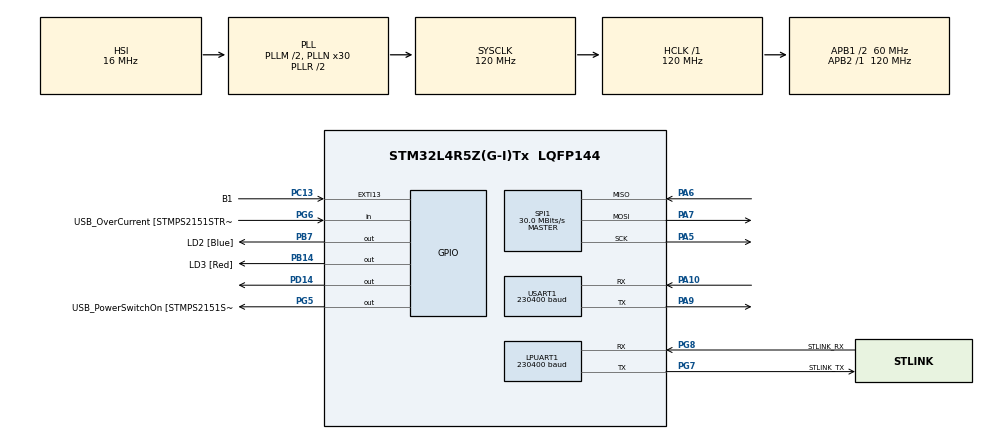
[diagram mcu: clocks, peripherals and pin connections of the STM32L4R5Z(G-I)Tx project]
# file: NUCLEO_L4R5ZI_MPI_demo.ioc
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Dma.LPUART1_RX.0.Direction=DMA_PERIPH_TO_MEMORY
Dma.LPUART1_RX.0.EventEnable=DISABLE
Dma.LPUART1_RX.0.Instance=DMA1_Channel1
Dma.LPUART1_RX.0.MemDataAlignment=DMA_MDATAALIGN_BYTE
Dma.LPUART1_RX.0.MemInc=DMA_MINC_ENABLE
Dma.LPUART1_RX.0.Mode=DMA_NORMAL
Dma.LPUART1_RX.0.PeriphDataAlignment=DMA_PDATAALIGN_BYTE
Dma.LPUART1_RX.0.PeriphInc=DMA_PINC_DISABLE
Dma.LPUART1_RX.0.Polarity=HAL_DMAMUX_REQUEST_GEN_RISING
Dma.LPUART1_RX.0.Priority=DMA_PRIORITY_LOW
Dma.LPUART1_RX.0.RequestNumber=1
Dma.LPUART1_RX.0.SignalID=NONE
Dma.LPUART1_RX.0.SyncEnable=DISABLE
Dma.LPUART1_RX.0.SyncPolarity=HAL_DMAMUX_SYNC_NO_EVENT
Dma.LPUART1_RX.0.SyncRequestNumber=1
Dma.LPUART1_RX.0.SyncSignalID=NONE
Dma.Request0=LPUART1_RX
LPUART1.BaudRate=230400
LPUART1.WordLength=UART_WORDLENGTH_8B
Mcu.Family=STM32L4
Mcu.Name=STM32L4R5Z(G-I)Tx
Mcu.Package=LQFP144
NVIC.DMA1_Channel1_IRQn=true\:0\:0\:false\:false\:true\:false\:true\:true
NVIC.PriorityGroup=NVIC_PRIORITYGROUP_4
PA10.Mode=Asynchronous
PA10.Signal=USART1_RX
PA13\ (JTMS/SWDIO).GPIO_Label=TMS
PA13\ (JTMS/SWDIO).Mode=Trace_Asynchronous_SW
PA13\ (JTMS/SWDIO).Signal=SYS_JTMS-SWDIO
PA14\ (JTCK/SWCLK).GPIO_Label=TCK
PA14\ (JTCK/SWCLK).Mode=Trace_Asynchronous_SW
PA14\ (JTCK/SWCLK).Signal=SYS_JTCK-SWCLK
PA5.Mode=Full_Duplex_Master
PA5.Signal=SPI1_SCK
PA6.Mode=Full_Duplex_Master
PA6.Signal=SPI1_MISO
PA7.Mode=Full_Duplex_Master
PA7.Signal=SPI1_MOSI
PA9.Mode=Asynchronous
PA9.Signal=USART1_TX
PB14.GPIO_Label=LD3 [Red]
PB14.Signal=GPIO_Output
PB3\ (JTDO/TRACESWO).GPIO_Label=SWO
PB3\ (JTDO/TRACESWO).Mode=Trace_Asynchronous_SW
PB3\ (JTDO/TRACESWO).Signal=SYS_JTDO-SWO
PB7.GPIO_Label=LD2 [Blue]
PB7.Signal=GPIO_Output
PC13.GPIO_Label=B1
PC13.Signal=GPXTI13
PC14-OSC32_IN\ (PC14).Mode=LSE-External-Oscillator
PC14-OSC32_IN\ (PC14).Signal=RCC_OSC32_IN
PC15-OSC32_OUT\ (PC15).Mode=LSE-External-Oscillator
PC15-OSC32_OUT\ (PC15).Signal=RCC_OSC32_OUT
PD14.Signal=GPIO_Output
PD8.GPIO_Label=STLK_RX [STM32F103CBT6_PA3]
PD8.Signal=USART3_TX
PD9.GPIO_Label=STLK_TX [STM32F103CBT6_PA2]
PD9.Signal=USART3_RX
PG5.GPIO_Label=USB_PowerSwitchOn [STMPS2151STR_EN]
PG5.Signal=GPIO_Output
PG6.GPIO_Label=USB_OverCurrent [STMPS2151STR_FAULT]
PG6.Signal=GPIO_Input
PG7.GPIO_Label=STLINK_TX
PG7.Mode=Asynchronous
PG7.Signal=LPUART1_TX
PG8.GPIO_Label=STLINK_RX
PG8.Mode=Asynchronous
PG8.Signal=LPUART1_RX
PH0-OSC_IN\ (PH0).Signal=RCC_OSC_IN
PH1-OSC_OUT\ (PH1).Signal=RCC_OSC_OUT
ProjectManager.HeapSize=0x200
ProjectManager.StackSize=0x400
ProjectManager.TargetToolchain=STM32CubeIDE
RCC.48MHZClocksFreq_Value=24000000
RCC.ADCFreq_Value=96000000
RCC.AHBFreq_Value=120000000
RCC.APB1CLKDivider=RCC_HCLK_DIV2
RCC.APB1Freq_Value=60000000
RCC.APB1TimFreq_Value=120000000
RCC.APB2Freq_Value=120000000
RCC.APB2TimFreq_Value=120000000
RCC.CK48CLockSelection=RCC_USBCLKSOURCE_HSI48
RCC.CortexFreq_Value=120000000
RCC.HCLKFreq_Value=120000000
RCC.HSE_VALUE=8000000
RCC.HSI48_VALUE=48000000
RCC.HSI_VALUE=16000000
RCC.MSI_VALUE=4000000
RCC.PLLM1=2
RCC.PLLMUL=RCC_PLL_MUL9
RCC.PLLN=30
RCC.PLLSAI1N=12
RCC.PLLSourceVirtual=RCC_PLLSOURCE_HSI
RCC.PRESCALERUSB=RCC_USBCLKSOURCE_PLL_DIV1_5
RCC.SYSCLKFreq_VALUE=120000000
RCC.SYSCLKSource=RCC_SYSCLKSOURCE_PLLCLK
RCC.SYSCLKSourceVirtual=RCC_SYSCLKSOURCE_PLLCLK
RCC.USBFreq_Value=48000000
RCC.VCOOutputFreq_Value=240000000
SPI1.BaudRatePrescaler=SPI_BAUDRATEPRESCALER_4
SPI1.CalculateBaudRate=30.0 MBits/s
SPI1.DataSize=SPI_DATASIZE_8BIT
SPI1.Direction=SPI_DIRECTION_2LINES
SPI1.Mode=SPI_MODE_MASTER
SPI1.VirtualType=VM_MASTER
USART1.BaudRate=230400
USART1.VirtualMode-Asynchronous=VM_ASYNC
board=NUCLEO-L4R5ZI

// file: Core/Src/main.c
/* USER CODE BEGIN Header */
/**
  ******************************************************************************
  * @file           : main.c
  * @brief          : Main program body
  ******************************************************************************
  * @attention
  *
  * <h2><center>&copy; Copyright (c) 2021 STMicroelectronics.
  * All rights reserved.</center></h2>
  *
  * This software component is licensed by ST under BSD 3-Clause license,
  * the "License"; You may not use this file except in compliance with the
  * License. You may obtain a copy of the License at:
  *                        opensource.org/licenses/BSD-3-Clause
  *
  ******************************************************************************
  */
/* USER CODE END Header */
#include "main.h"

UART_HandleTypeDef hlpuart1;
UART_HandleTypeDef huart1;
DMA_HandleTypeDef hdma_lpuart1_rx;

SPI_HandleTypeDef hspi1;

/* USER CODE BEGIN PV */

//note assuming allocating all storage for MPI
const uint8_t FLASH_READ = 0x03;
const uint8_t FLASH_WRITE = 0x02;
const uint8_t FLASH_WREN = 0x06;
const uint8_t FLASH_WRDI = 0x04;
const uint8_t FLASH_ER4 = 0x20;
const uint8_t FLASH_ER32 = 0x52;
const uint8_t FLASH_ER64 = 0xd8;
const uint8_t FLASH_ERCP = 0xC7;
const uint8_t FLASH_STATREG1 = 0X05;

/* USER CODE END PV */

void SystemClock_Config(void);
static void MX_GPIO_Init(void);
static void MX_DMA_Init(void);
static void MX_LPUART1_UART_Init(void);
static void MX_SPI1_Init(void);
static void MX_USART1_UART_Init(void);
/* USER CODE BEGIN PFP */
//uint8_t sendTelecommand(uint8_t commandCode, uint8_t *parameters);
/* USER CODE END PFP */

/* USER CODE BEGIN 0 */
uint8_t UART1_rxBuffer[160] = {0};
uint8_t MPI_sync_bytes[4] = {0x0c, 0xff, 0xff, 0x0c};
uint8_t MPI_housekeeping[18] = {0};
//uint8_t UART1_txBuffer[160] = {0};
uint8_t flash_buffer[256] = {0};
uint8_t flash_buffer_capacity = 0;
uint32_t page_number = 0;
uint8_t address[3] = {0};
uint8_t spiRX_buf[256] = {0};

/* USER CODE END 0 */

int main(void)
{

  /* MCU Configuration--------------------------------------------------------*/

  /* Reset of all peripherals, Initializes the Flash interface and the Systick. */
  HAL_Init();

  /* Configure the system clock */
  SystemClock_Config();

  /* Initialize all configured peripherals */
  MX_GPIO_Init();
  MX_DMA_Init();
  MX_LPUART1_UART_Init();
  MX_SPI1_Init();
  MX_USART1_UART_Init();
  /* USER CODE BEGIN 2 */

  // Send commands to the MPI
  uint8_t parameters = 0xFF;
  uint8_t command_code = 4;
  sendTelecommand(command_code, parameters);

//  HAL_UART_Receive_DMA(&huart1, UART1_rxBuffer, 160);

  /* USER CODE END 2 */

  /* Infinite loop */
  while (1)
  {

  }
}

void SystemClock_Config(void)
{
  RCC_OscInitTypeDef RCC_OscInitStruct = {0};
  RCC_ClkInitTypeDef RCC_ClkInitStruct = {0};

  /** Configure the main internal regulator output voltage
  */
  if (HAL_PWREx_ControlVoltageScaling(PWR_REGULATOR_VOLTAGE_SCALE1_BOOST) != HAL_OK)
  {
    Error_Handler();
  }

  /** Initializes the RCC Oscillators according to the specified parameters
  * in the RCC_OscInitTypeDef structure.
  */
  RCC_OscInitStruct.OscillatorType = RCC_OSCILLATORTYPE_HSI;
  RCC_OscInitStruct.HSIState = RCC_HSI_ON;
  RCC_OscInitStruct.HSICalibrationValue = RCC_HSICALIBRATION_DEFAULT;
  RCC_OscInitStruct.PLL.PLLState = RCC_PLL_ON;
  RCC_OscInitStruct.PLL.PLLSource = RCC_PLLSOURCE_HSI;
  RCC_OscInitStruct.PLL.PLLM = 2;
  RCC_OscInitStruct.PLL.PLLN = 30;
  RCC_OscInitStruct.PLL.PLLP = RCC_PLLP_DIV2;
  RCC_OscInitStruct.PLL.PLLQ = RCC_PLLQ_DIV2;
  RCC_OscInitStruct.PLL.PLLR = RCC_PLLR_DIV2;
  if (HAL_RCC_OscConfig(&RCC_OscInitStruct) != HAL_OK)
  {
    Error_Handler();
  }

  /** Initializes the CPU, AHB and APB buses clocks
  */
  RCC_ClkInitStruct.ClockType = RCC_CLOCKTYPE_HCLK|RCC_CLOCKTYPE_SYSCLK
                              |RCC_CLOCKTYPE_PCLK1|RCC_CLOCKTYPE_PCLK2;
  RCC_ClkInitStruct.SYSCLKSource = RCC_SYSCLKSOURCE_PLLCLK;
  RCC_ClkInitStruct.AHBCLKDivider = RCC_SYSCLK_DIV1;
  RCC_ClkInitStruct.APB1CLKDivider = RCC_HCLK_DIV2;
  RCC_ClkInitStruct.APB2CLKDivider = RCC_HCLK_DIV1;

  if (HAL_RCC_ClockConfig(&RCC_ClkInitStruct, FLASH_LATENCY_5) != HAL_OK)
  {
    Error_Handler();
  }
}

static void MX_LPUART1_UART_Init(void)
{

  hlpuart1.Instance = LPUART1;
  hlpuart1.Init.BaudRate = 230400;
  hlpuart1.Init.WordLength = UART_WORDLENGTH_8B;
  hlpuart1.Init.StopBits = UART_STOPBITS_1;
  hlpuart1.Init.Parity = UART_PARITY_NONE;
  hlpuart1.Init.Mode = UART_MODE_TX_RX;
  hlpuart1.Init.HwFlowCtl = UART_HWCONTROL_NONE;
  hlpuart1.Init.OneBitSampling = UART_ONE_BIT_SAMPLE_DISABLE;
  hlpuart1.Init.ClockPrescaler = UART_PRESCALER_DIV1;
  hlpuart1.AdvancedInit.AdvFeatureInit = UART_ADVFEATURE_NO_INIT;
  hlpuart1.FifoMode = UART_FIFOMODE_DISABLE;
  if (HAL_UART_Init(&hlpuart1) != HAL_OK)
  {
    Error_Handler();
  }
  if (HAL_UARTEx_SetTxFifoThreshold(&hlpuart1, UART_TXFIFO_THRESHOLD_1_8) != HAL_OK)
  {
    Error_Handler();
  }
  if (HAL_UARTEx_SetRxFifoThreshold(&hlpuart1, UART_RXFIFO_THRESHOLD_1_8) != HAL_OK)
  {
    Error_Handler();
  }
  if (HAL_UARTEx_DisableFifoMode(&hlpuart1) != HAL_OK)
  {
    Error_Handler();
  }

}

static void MX_USART1_UART_Init(void)
{

  huart1.Instance = USART1;
  huart1.Init.BaudRate = 230400;
  huart1.Init.WordLength = UART_WORDLENGTH_8B;
  huart1.Init.StopBits = UART_STOPBITS_1;
  huart1.Init.Parity = UART_PARITY_NONE;
  huart1.Init.Mode = UART_MODE_TX_RX;
  huart1.Init.HwFlowCtl = UART_HWCONTROL_NONE;
  huart1.Init.OverSampling = UART_OVERSAMPLING_16;
  huart1.Init.OneBitSampling = UART_ONE_BIT_SAMPLE_DISABLE;
  huart1.Init.ClockPrescaler = UART_PRESCALER_DIV1;
  huart1.AdvancedInit.AdvFeatureInit = UART_ADVFEATURE_NO_INIT;
  if (HAL_UART_Init(&huart1) != HAL_OK)
  {
    Error_Handler();
  }
  if (HAL_UARTEx_SetTxFifoThreshold(&huart1, UART_TXFIFO_THRESHOLD_1_8) != HAL_OK)
  {
    Error_Handler();
  }
  if (HAL_UARTEx_SetRxFifoThreshold(&huart1, UART_RXFIFO_THRESHOLD_1_8) != HAL_OK)
  {
    Error_Handler();
  }
  if (HAL_UARTEx_DisableFifoMode(&huart1) != HAL_OK)
  {
    Error_Handler();
  }

}

static void MX_SPI1_Init(void)
{

  /* SPI1 parameter configuration*/
  hspi1.Instance = SPI1;
  hspi1.Init.Mode = SPI_MODE_MASTER;
  hspi1.Init.Direction = SPI_DIRECTION_2LINES;
  hspi1.Init.DataSize = SPI_DATASIZE_8BIT;
  hspi1.Init.CLKPolarity = SPI_POLARITY_LOW;
  hspi1.Init.CLKPhase = SPI_PHASE_1EDGE;
  hspi1.Init.NSS = SPI_NSS_SOFT;
  hspi1.Init.BaudRatePrescaler = SPI_BAUDRATEPRESCALER_4;
  hspi1.Init.FirstBit = SPI_FIRSTBIT_MSB;
  hspi1.Init.TIMode = SPI_TIMODE_DISABLE;
  hspi1.Init.CRCCalculation = SPI_CRCCALCULATION_DISABLE;
  hspi1.Init.CRCPolynomial = 7;
  hspi1.Init.CRCLength = SPI_CRC_LENGTH_DATASIZE;
  hspi1.Init.NSSPMode = SPI_NSS_PULSE_ENABLE;
  if (HAL_SPI_Init(&hspi1) != HAL_OK)
  {
    Error_Handler();
  }

}

static void MX_DMA_Init(void)
{

  /* DMA controller clock enable */
  __HAL_RCC_DMAMUX1_CLK_ENABLE();
  __HAL_RCC_DMA1_CLK_ENABLE();

  /* DMA interrupt init */
  /* DMA1_Channel1_IRQn interrupt configuration */
  HAL_NVIC_SetPriority(DMA1_Channel1_IRQn, 0, 0);
  HAL_NVIC_EnableIRQ(DMA1_Channel1_IRQn);

}

static void MX_GPIO_Init(void)
{
  GPIO_InitTypeDef GPIO_InitStruct = {0};

  /* GPIO Ports Clock Enable */
  __HAL_RCC_GPIOC_CLK_ENABLE();
  __HAL_RCC_GPIOH_CLK_ENABLE();
  __HAL_RCC_GPIOA_CLK_ENABLE();
  __HAL_RCC_GPIOB_CLK_ENABLE();
  __HAL_RCC_GPIOD_CLK_ENABLE();
  __HAL_RCC_GPIOG_CLK_ENABLE();
  HAL_PWREx_EnableVddIO2();

  /*Configure GPIO pin Output Level */
  HAL_GPIO_WritePin(GPIOB, LD3_Pin|LD2_Pin, GPIO_PIN_RESET);

  /*Configure GPIO pin Output Level */
  HAL_GPIO_WritePin(GPIOD, GPIO_PIN_14, GPIO_PIN_RESET);

  /*Configure GPIO pin Output Level */
  HAL_GPIO_WritePin(USB_PowerSwitchOn_GPIO_Port, USB_PowerSwitchOn_Pin, GPIO_PIN_RESET);

  /*Configure GPIO pin : B1_Pin */
  GPIO_InitStruct.Pin = B1_Pin;
  GPIO_InitStruct.Mode = GPIO_MODE_IT_RISING;
  GPIO_InitStruct.Pull = GPIO_NOPULL;
  HAL_GPIO_Init(B1_GPIO_Port, &GPIO_InitStruct);

  /*Configure GPIO pins : LD3_Pin LD2_Pin */
  GPIO_InitStruct.Pin = LD3_Pin|LD2_Pin;
  GPIO_InitStruct.Mode = GPIO_MODE_OUTPUT_PP;
  GPIO_InitStruct.Pull = GPIO_NOPULL;
  GPIO_InitStruct.Speed = GPIO_SPEED_FREQ_LOW;
  HAL_GPIO_Init(GPIOB, &GPIO_InitStruct);

  /*Configure GPIO pins : STLK_RX_Pin STLK_TX_Pin */
  GPIO_InitStruct.Pin = STLK_RX_Pin|STLK_TX_Pin;
  GPIO_InitStruct.Mode = GPIO_MODE_AF_PP;
  GPIO_InitStruct.Pull = GPIO_NOPULL;
  GPIO_InitStruct.Speed = GPIO_SPEED_FREQ_VERY_HIGH;
  GPIO_InitStruct.Alternate = GPIO_AF7_USART3;
  HAL_GPIO_Init(GPIOD, &GPIO_InitStruct);

  /*Configure GPIO pin : PD14 */
  GPIO_InitStruct.Pin = GPIO_PIN_14;
  GPIO_InitStruct.Mode = GPIO_MODE_OUTPUT_PP;
  GPIO_InitStruct.Pull = GPIO_NOPULL;
  GPIO_InitStruct.Speed = GPIO_SPEED_FREQ_LOW;
  HAL_GPIO_Init(GPIOD, &GPIO_InitStruct);

  /*Configure GPIO pin : USB_PowerSwitchOn_Pin */
  GPIO_InitStruct.Pin = USB_PowerSwitchOn_Pin;
  GPIO_InitStruct.Mode = GPIO_MODE_OUTPUT_PP;
  GPIO_InitStruct.Pull = GPIO_NOPULL;
  GPIO_InitStruct.Speed = GPIO_SPEED_FREQ_LOW;
  HAL_GPIO_Init(USB_PowerSwitchOn_GPIO_Port, &GPIO_InitStruct);

  /*Configure GPIO pin : USB_OverCurrent_Pin */
  GPIO_InitStruct.Pin = USB_OverCurrent_Pin;
  GPIO_InitStruct.Mode = GPIO_MODE_INPUT;
  GPIO_InitStruct.Pull = GPIO_NOPULL;
  HAL_GPIO_Init(USB_OverCurrent_GPIO_Port, &GPIO_InitStruct);

}

/* USER CODE BEGIN 4 */

// Send telecommand without parameters
// TODO: Add error check
//uint8_t sendTelecommand(uint8_t commandCode, uint8_t *parameters){
//
//	// Turn on frame transmitting TC
//	UART1_txBuffer[0] = 0x54;
//	UART1_txBuffer[1] = 0x43;
//	UART1_txBuffer[2] = commandCode;
//
//	// Command with no parameters detected: Transmit command
//	if(parameters != NULL){
//		UART1_txBuffer[3] = *parameters;
//	}
//
//	// Transmit Telecommand
//	HAL_UART_Transmit(&hlpuart1, (uint8_t *)UART1_txBuffer, strlen((char*)UART1_txBuffer), 100);
//
//	return 1;
//}

void HAL_UART_RxCpltCallback(UART_HandleTypeDef *hlpuart1)
{
	//if its a data frame
	if(UART1_rxBuffer[0] == MPI_sync_bytes[0] && UART1_rxBuffer[1] == MPI_sync_bytes[1] && UART1_rxBuffer[2] == MPI_sync_bytes[2] && UART1_rxBuffer[3] == MPI_sync_bytes[3]){

		//calculate address array from page number
		address[0] = (page_number*0xff)& 0x000000ff;
		address[1] = (page_number*0xff)& 0x0000ff00;
		address[2] = (page_number*0xff)& 0x00ff0000;

		//store header data (uncomment in needed)
//		for(int i = 0; i < 18; i++){
//			MPI_housekeeping[i] = UART1_rxBuffer[4+i];
//		}

		//store into MPI buffer
		for(int i = 0; i<160; i++){
			//if buffer if full (time to write a full page)
			if(flash_buffer_capacity == 255){
			//add stored bytes

				//erase sector if needed
				if(page_number % 16 == 0){//if onto new sector erase that sector so it can be properly written to
				   //write enable
					HAL_GPIO_WritePin(GPIOD, GPIO_PIN_14, GPIO_PIN_RESET);
					HAL_SPI_Transmit(&hspi1, (uint8_t*)&FLASH_WREN, 1, 100);
					HAL_GPIO_WritePin(GPIOD, GPIO_PIN_14, GPIO_PIN_SET);

					//erase sector (16 pages)
					HAL_GPIO_WritePin(GPIOD, GPIO_PIN_14, GPIO_PIN_RESET);
					HAL_SPI_Transmit(&hspi1, (uint8_t*)&FLASH_ER4, 1, 100);
					HAL_SPI_Transmit(&hspi1, (uint8_t*)&address, 3, 100);			//write address
					HAL_GPIO_WritePin(GPIOD, GPIO_PIN_14, GPIO_PIN_SET);

					uint8_t wip = 1;
					while (wip)	//wait will erase is done
					{
						// Read status register
						HAL_GPIO_WritePin(GPIOD, GPIO_PIN_14, GPIO_PIN_RESET);
						HAL_SPI_Transmit(&hspi1, (uint8_t *)&FLASH_STATREG1, 1, 100);	//opcode for read
						HAL_SPI_Receive(&hspi1, (uint8_t *)spiRX_buf, 1, 100);	//Receive data
						HAL_GPIO_WritePin(GPIOD, GPIO_PIN_14, GPIO_PIN_SET);

						// Mask out WIP bit
						wip = spiRX_buf[0] & 0b00000001;
					}
				}

			//write new data
				//write enable
				HAL_GPIO_WritePin(GPIOD, GPIO_PIN_14, GPIO_PIN_RESET);
				HAL_SPI_Transmit(&hspi1, (uint8_t*)&FLASH_WREN, 1, 100);
				HAL_GPIO_WritePin(GPIOD, GPIO_PIN_14, GPIO_PIN_SET);

				//write data
				HAL_GPIO_WritePin(GPIOD, GPIO_PIN_14, GPIO_PIN_RESET);	//cs low
				HAL_SPI_Transmit(&hspi1, (uint8_t*)&FLASH_WRITE, 1, 100);	//write opcode
				HAL_SPI_Transmit(&hspi1, (uint8_t*)&address, 3, 100);			//write address
				HAL_SPI_Transmit(&hspi1, (uint8_t*)&flash_buffer, 256, 100);//data
				HAL_GPIO_WritePin(GPIOD, GPIO_PIN_14, GPIO_PIN_SET);

				//wait till write is done
				uint8_t wip = 1;
				while (wip)
				{
					// Read status register
					HAL_GPIO_WritePin(GPIOD, GPIO_PIN_14, GPIO_PIN_RESET);
					HAL_SPI_Transmit(&hspi1, (uint8_t *)&FLASH_STATREG1, 1, 100);	//opcode for read
					HAL_SPI_Receive(&hspi1, (uint8_t *)spiRX_buf, 1, 100);	//Receive data
					HAL_GPIO_WritePin(GPIOD, GPIO_PIN_14, GPIO_PIN_SET);

					// Mask out WIP bit
					wip = spiRX_buf[0] & 0b00000001;
				}

				page_number+=1;

				//TODO: determine if need to clear flash_buffer? (is it safe?)
				flash_buffer_capacity = 1;
				flash_buffer[0] = UART1_rxBuffer[i];
			}

			else if(flash_buffer_capacity < 255){	//buffer not full yet...
				flash_buffer[flash_buffer_capacity] = UART1_rxBuffer[i];
				flash_buffer_capacity++;
			}

		}

	}

	else if(UART1_rxBuffer[0] == 0x54 && UART1_rxBuffer[1] == 0x43){

		if(0){	//if telecommand fails TODO: create array with TC codes, where the verification byte is. if failed, then try again 3 times max, then give up.
			//HAL_UART_Transmit(&hlpuart1, UART1_txBuffer, strlen((char*)UART1_txBuffer), 100);
		}
	}

    HAL_UART_Receive_DMA(hlpuart1, UART1_rxBuffer, 100);
}

/* USER CODE END 4 */

void Error_Handler(void)
{
  __disable_irq();
  while (1)
  {
  }
}
